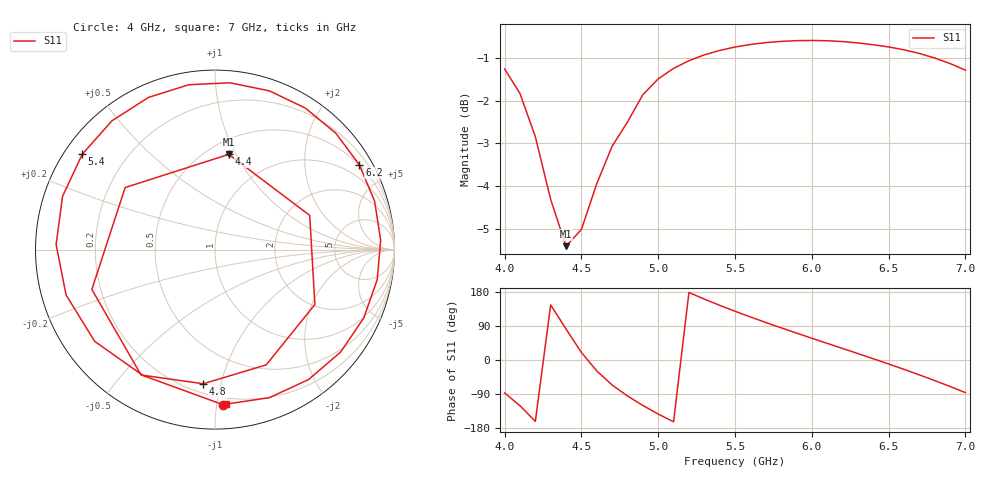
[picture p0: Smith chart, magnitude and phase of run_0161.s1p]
! Touchstone file exported from HFSS 2024.2.0
!  File:  C:/Users/wsak9/Desktop/Sim Fast/Widenad Patch/WP_AI_V1_sweep.aedt
!  Generated:  09:36:49 PM Oct 13, 2026
!  Design:  A1_model
!  Project:  WP_AI_V1_sweep
!  Setup:  Setup1
!  Solution:  Sweep
! Variables:
!  Air_gap = 3.7mm
!  Curve_Amp1 = 1.53
!  Curve_len1 = 1
!  Curve_pos = 13.065mm
!  Extra = 4.24mm
!  H_sub = 0.79mm
!  L_Patch = 22.13mm
!  L_Patch1 = 12.95mm
!  Sx = 3.71mm
!  Sy = 3.72mm
!  WS = 1.28mm
!  W_Patch = 19.7mm
!  W_Patch1 = 8.71mm
!Data is not renormalized
# GHz S MA
! Terminal data exported
! Port[1] = 1
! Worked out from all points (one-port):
!   31 points, 4 GHz to 7 GHz, reference per port
!   lowest |S11| = -5.4 dB at 4.4 GHz (marker M1), VSWR 3.31
!   |S11| at or under -10 dB: nowhere
!   S11 on the Smith chart (normalised r, x): 4 GHz: 0.15, -1.04; 4.4 GHz: 0.63, +0.94; 4.8 GHz: 0.26, -0.88; 5.4 GHz: 0.05, +0.32; 6.2 GHz: 0.50, +3.61; 7 GHz: 0.16, -1.06
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4  0.8661 -86.9
4.1  0.8104 -120.6
4.2  0.7212 -162.1
4.3  0.6083 145.4
4.4  0.5362 81.7
4.5  0.561 19.9
4.6  0.635 -28.8
4.7  0.7027 -66.0
4.8  0.7503 -95.0
4.9  0.8078 -120.0
5  0.8431 -142.7
5.1  0.8674 -163.1
5.2  0.8856 178.2
5.3  0.8997 160.8
5.4  0.9106 144.3
5.5  0.919 128.7
5.6  0.9254 113.6
5.7  0.93 99.1
5.8  0.9332 84.9
5.9  0.935 71.1
6  0.9355 57.4
6.2  0.9327 30.4
6.3  0.9292 16.9
6.5  0.9192 -10.5
6.6  0.9122 -24.7
6.7  0.9032 -39.2
6.9  0.8789 -69.8
7  0.8633 -86.1
